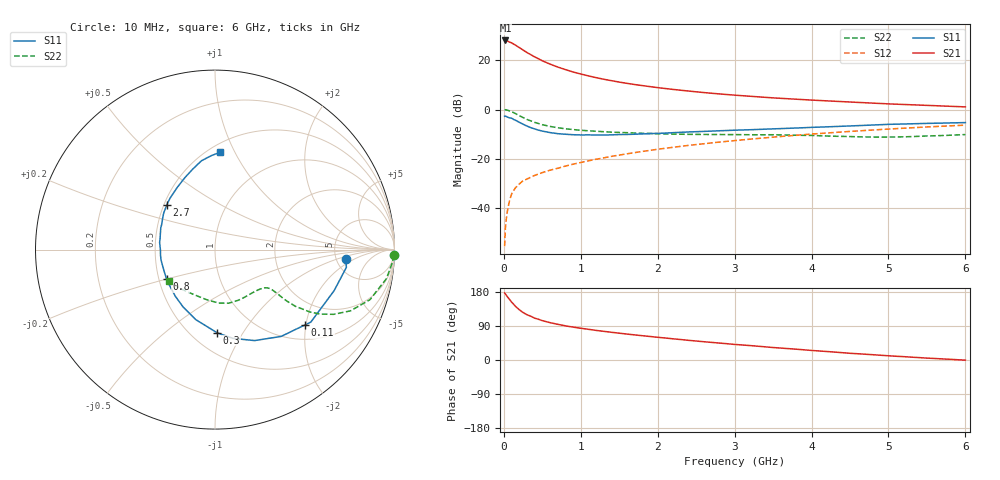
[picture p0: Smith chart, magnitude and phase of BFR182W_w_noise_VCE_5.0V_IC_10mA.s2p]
! (c) 2017  Infineon Technologies AG, Munich
! Infineon Technologies  Discrete & RF Semiconductors
! BFR182W
! VCE =  5.0 V,  IC =  10 mA
! Common Emitter S-Parameters:  Jan 2017
# GHz  S  MA  R  50
!  f  S11  S21  S12  S22
! GHz  MAG  ANG  MAG  ANG  MAG  ANG  MAG  ANG
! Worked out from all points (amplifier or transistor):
!   77 points, 10 MHz to 6 GHz, reference 50 ohm
!   highest |S21| = 28.0 dB at 20 MHz (marker M1)
!   |S21| within 3 dB of that: start of sweep to 206.3 MHz
!   unconditionally stable (mu >= 1): 1.11 GHz to 2.63 GHz
!   at 130 MHz: K = 0.27, MSG = 29.6 dB, |S12| = -32.7 dB
!   at 2.2 GHz: K = 1.02, MAG = 10.8 dB, |S12| = -15.3 dB
!   at 6 GHz: K = 0.86, MSG = 3.7 dB, |S12| = -6.3 dB
!   lowest NFmin = 1.07 dB at 450 MHz
!   S11 on the Smith chart (normalised r, x): 10 MHz: 6.13, -1.31; 110 MHz: 1.35, -1.97; 300 MHz: 0.66, -0.78; 800 MHz: 0.55, -0.20; 2.7 GHz: 0.52, +0.30; 6 GHz: 0.57, +0.88
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0.01  0.7304 -3.9  25.01 176.8  0.0017 94.6  0.9956 -1.8
0.02  0.7386 -7.7  25.12 174.2  0.0039 84.3  0.9916 -4.0
0.05  0.7018 -19.1  24.34 165.8  0.0094 81.5  0.9688 -9.6
0.1  0.6694 -37.1  22.53 152.9  0.0192 74.2  0.9074 -17.9
0.11  0.6535 -40.0  22.02 150.9  0.0205 72.9  0.8909 -19.1
0.15  0.608 -52.7  20.27 141.8  0.0258 69.0  0.8289 -24.3
0.2  0.5528 -66.5  18.04 132.8  0.0308 64.2  0.7533 -28.6
0.25  0.5047 -78.5  16.08 125.3  0.0362 61.2  0.6878 -31.5
0.3  0.4629 -88.7  14.31 119.5  0.0389 60.0  0.63 -33.4
0.4  0.4048 -105.3  11.68 110.5  0.0461 59.5  0.5487 -35.2
0.5  0.3656 -119.1  9.733 103.9  0.0526 59.8  0.4929 -35.6
0.6  0.3411 -130.4  8.339 98.6  0.0589 60.2  0.455 -35.5
0.8  0.3157 -148.7  6.446 90.2  0.0714 63.1  0.4075 -35.2
0.9  0.3086 -156.0  5.769 86.8  0.0781 63.0  0.3927 -35.1
1.1  0.306 -168.8  4.804 81.0  0.0913 64.4  0.3709 -35.6
1.5  0.3113 172.6  3.602 70.8  0.1192 65.1  0.3434 -38.7
2.1  0.3333 152.1  2.666 58.0  0.1641 64.0  0.3204 -47.6
2.7  0.3653 137.5  2.139 46.5  0.2106 61.2  0.3118 -59.7
3.1  0.3852 128.8  1.907 39.6  0.2426 58.7  0.3092 -67.7
4.1  0.4402 111.2  1.526 23.8  0.3261 51.0  0.2943 -88.5
5.1  0.5049 97.3  1.284 9.9  0.41 41.9  0.2778 -118.7
6  0.5438 86.9  1.131 -0.4  0.4828 32.9  0.3114 -145.6
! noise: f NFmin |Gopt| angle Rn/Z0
0.45  1.07  0.08  50  0.15
0.9  1.15  0.07  86  0.15
1.9  1.65  0.19  -164  0.13
2.4  1.9  0.18  -156  0.2
